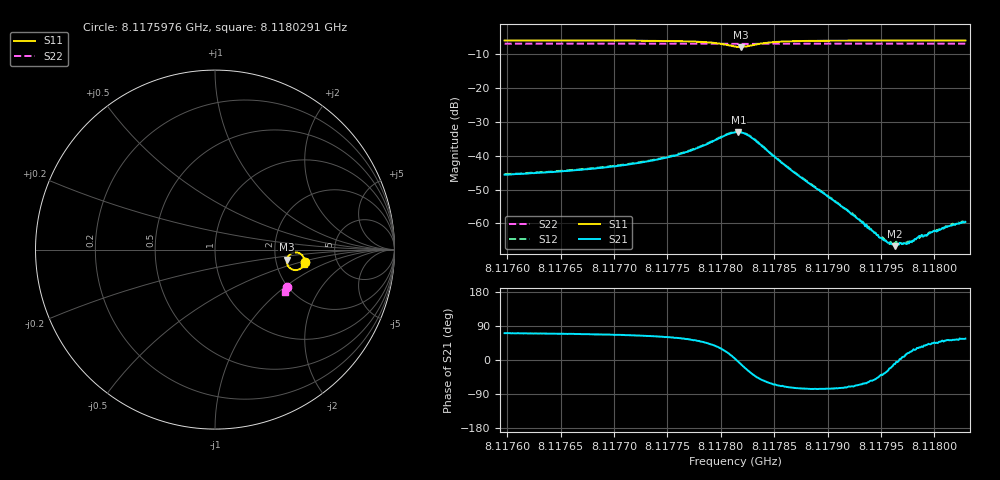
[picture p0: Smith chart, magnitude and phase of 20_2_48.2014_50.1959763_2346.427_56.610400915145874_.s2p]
#  HZ  S  RI  R  50.00
! Rohde & Schwarz Vector Network Analyzer
! Rohde-Schwarz,ZNB20-2Port,1311601062101988,3.16
! Created: UTC 3/20/2024, 11:36:55 AM
! freq[Hz]  re:S11  im:S11  re:S21  im:S21  re:S12  im:S12  re:S22  im:S22
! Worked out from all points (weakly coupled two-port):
!   401 points, 8.1175976 GHz to 8.1180291 GHz, reference 50 ohm
!   highest |S21| = -33.02 dB at 8.1178166 GHz (marker M1); lowest = -66.7 dB at 8.1179633 GHz (marker M2)
!   lowest |S11| = -7.9 dB at 8.1178187 GHz (marker M3), VSWR 2.36, Z = 115 - j15.6 ohm
!   |S11| at or under -10 dB: nowhere
!   |S22| runs from -7.0 to -6.9 dB; largest |S21 - S12| = 0.00064
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8.1175976e9  0.5004 -0.0671  0.00171 0.00496  0.00179 0.00504  0.4016 -0.2083
8.11766987e9  0.4978 -0.0767  0.0023 0.00577  0.00237 0.00588  0.3994 -0.213
8.11770654e9  0.4952 -0.0834  0.00289 0.00655  0.00304 0.00667  0.3981 -0.2155
8.11774214e9  0.4899 -0.0928  0.00421 0.00784  0.00434 0.00794  0.3966 -0.2179
8.11777018e9  0.4788 -0.1044  0.00681 0.00948  0.00697 0.00965  0.395 -0.2199
8.11779931e9  0.438 -0.1131  0.0157 0.00952  0.0161 0.00956  0.3923 -0.2216
8.11781333e9  0.4023 -0.0812  0.0221 0.00135  0.0225 0.00121  0.3908 -0.2206
8.11781657e9  0.3996 -0.0667  0.0223 -0.00181  0.0226 -0.00204  0.3906 -0.22
8.11781872e9  0.4004 -0.0564  0.0216 -0.00387  0.0221 -0.00421  0.3908 -0.2198
8.11783059e9  0.4321 -0.0187  0.0137 -0.0112  0.0138 -0.0115  0.3923 -0.2193
8.11785864e9  0.4855 -0.0318  0.00267 -0.0071  0.00258 -0.00721  0.3936 -0.2222
8.1178856e9  0.4957 -0.0487  0.000859 -0.00352  0.000837 -0.00364  0.3931 -0.2248
8.11791796e9  0.4986 -0.0603  0.000481 -0.00151  0.000497 -0.00152  0.392 -0.2272
8.11794493e9  0.4991 -0.0666  0.000459 -0.000554  0.000478 -0.000545  0.3912 -0.229
8.11795032e9  0.4991 -0.0677  0.000476 -0.000382  0.000512 -0.0004  0.391 -0.2293
8.11795787e9  0.4991 -0.0691  0.00048 -0.000199  0.000447 -0.000213  0.3908 -0.2299
8.11796327e9  0.4992 -0.07  0.000453 -8.35e-05  0.000496 -8.07e-05  0.3906 -0.2303
8.11797621e9  0.499 -0.0721  0.000481 0.000162  0.000504 0.000183  0.3903 -0.231
8.11798592e9  0.4992 -0.0736  0.000544 0.000362  0.000507 0.000334  0.3897 -0.2317
8.11799131e9  0.499 -0.0744  0.000529 0.000412  0.000543 0.000416  0.3896 -0.232
8.11801504e9  0.4987 -0.0776  0.000567 0.000736  0.000572 0.000742  0.3888 -0.2335
8.11802907e9  0.4985 -0.0792  0.000583 0.000875  0.000606 0.000875  0.3882 -0.2344
